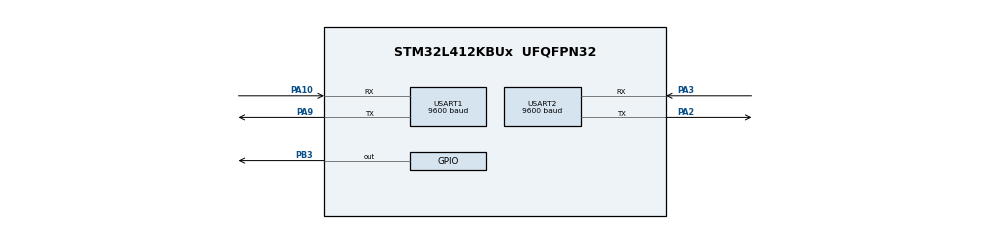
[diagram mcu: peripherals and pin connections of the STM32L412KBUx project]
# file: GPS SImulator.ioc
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Mcu.Family=STM32L4
Mcu.Name=STM32L412KBUx
Mcu.Package=UFQFPN32
NVIC.PriorityGroup=NVIC_PRIORITYGROUP_4
PA10.Mode=Asynchronous
PA10.Signal=USART1_RX
PA2.Mode=Asynchronous
PA2.Signal=USART2_TX
PA3.Mode=Asynchronous
PA3.Signal=USART2_RX
PA9.Mode=Asynchronous
PA9.Signal=USART1_TX
PB3\ (JTDO/TRACESWO).Signal=GPIO_Output
ProjectManager.HeapSize=0x200
ProjectManager.StackSize=0x400
ProjectManager.TargetToolchain=EWARM V8.32
RCC.ADCFreq_Value=4000000
RCC.HSE_VALUE=8000000
RCC.HSI48_VALUE=48000000
RCC.HSI_VALUE=16000000
RCC.LSE_VALUE=32768
RCC.MSI_VALUE=4000000
RCC.USBFreq_Value=4000000
RCC.VCOOutputFreq_Value=32000000
USART1.BaudRate=9600
USART1.VirtualMode-Asynchronous=VM_ASYNC
USART2.BaudRate=9600
USART2.VirtualMode-Asynchronous=VM_ASYNC
board=custom

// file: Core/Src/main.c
/* USER CODE BEGIN Header */
/**
  ******************************************************************************
  * @file           : main.c
  * @brief          : Main program body
  ******************************************************************************
  * @attention
  *
  * <h2><center>&copy; Copyright (c) 2022 STMicroelectronics.
  * All rights reserved.</center></h2>
  *
  * This software component is licensed by ST under BSD 3-Clause license,
  * the "License"; You may not use this file except in compliance with the
  * License. You may obtain a copy of the License at:
  *                        opensource.org/licenses/BSD-3-Clause
  *
  ******************************************************************************
  */
/* USER CODE END Header */
#include "main.h"

/* USER CODE BEGIN Includes */
#include <string.h>
/* USER CODE END Includes */

/* USER CODE BEGIN PD */
#define GPS_RECORD_INTERVAL 2
/* USER CODE END PD */

UART_HandleTypeDef huart1;
UART_HandleTypeDef huart2;

/* USER CODE BEGIN PV */
// scheduler stuff
extern uint8_t ten_mS_Flag;
extern uint8_t twentyfive_mS_Flag;
extern uint8_t hundred_mS_Flag;
extern uint8_t one_S_Flag;

// GPS Timing & Control
uint8_t gps_record_interval = GPS_RECORD_INTERVAL;
#define UART_2_USE &huart2
#define ROTATING_MESSAGES -1
int8_t gpsMsg2Send = ROTATING_MESSAGES;

// GPS Messages
// Test Cases:
#define NO_OF_GPS_MSGS 13
#define GPGGA_MSG_LENGTH 100
const char gpsMsg[NO_OF_GPS_MSGS][GPGGA_MSG_LENGTH] = {
  "$GPGGA,064951.000,2307.1256,N,12016.4438,E,1,8,0.95,39.9,M,17.8,M,,*65\r\n",
  "$GPGSV,3,1,09,29,36,029,42,21,46,314,43,26,44,020,43,15,21,321,39*7D\r\n",
  "$GPGSV,3,2,09,18,26,314,40,09,57,170,44,06,20,229,37,10,26,084,37*77\r\n",
  "$GPGSV,3,3,09,07,,,26*73\r\n",
  "$GPRMC,064951.000,A,2307.1256,N,12016.4438,E,0.03,165.48,260406,3.05,W,A*2C\r\n",
  "$GPVTG,165.48,T,,M,0.03,N,0.06,K,A*37\r\n",
  "$$PGTOP,11,3 *6F\r\n",
  "$GPGGA,,,,,,,,,,,,,,*7A\r\n",
  "$\r\n",
  "$GPGGA,092357.00,3731.07311,N,12155.24846,W,1,06,1.29,106.3,M,-29.6,M,,*60\r\n",
  "sd;f;k,tt432,Rfesy,3,\r\n",
  "GPG$,4,2,7,1\r\n",
  "26,314,40,09,57,170,44"
};

/* USER CODE END PV */

void SystemClock_Config(void);
static void MX_GPIO_Init(void);
static void MX_USART1_UART_Init(void);
static void MX_USART2_UART_Init(void);
/* USER CODE BEGIN PFP */
void SendOutGPS(int8_t recordNo);

/* USER CODE END PFP */

int main(void)
{

  /* MCU Configuration--------------------------------------------------------*/

  /* Reset of all peripherals, Initializes the Flash interface and the Systick. */
  HAL_Init();

  /* Configure the system clock */
  SystemClock_Config();

  /* Initialize all configured peripherals */
  MX_GPIO_Init();
  MX_USART1_UART_Init();
  MX_USART2_UART_Init();

  /* Infinite loop */
  /* USER CODE BEGIN WHILE */
  while (1)
  {
    //---------------------------------
    // 10mS Tasks
    if (ten_mS_Flag) {
      ten_mS_Flag = false;

    }  // end of 10mS Tasks
    //---------------------------------

    //---------------------------------
    // 25mS Tasks
    if (twentyfive_mS_Flag) {
      twentyfive_mS_Flag = false;

    }  // end of 25mS Tasks
    //---------------------------------

    //---------------------------------
    // 100mS Tasks
    if (hundred_mS_Flag) {
      hundred_mS_Flag = false;

    }  // end of 100mS Tasks
    //---------------------------------

    //---------------------------------
    // 1 Sec Tasks
    if (one_S_Flag) {
      one_S_Flag = false;

      if (--gps_record_interval == 0) {
        gps_record_interval = GPS_RECORD_INTERVAL;

        SendOutGPS(gpsMsg2Send);
      }
    } // end of 1Sec Tasks
    //---------------------------------

    //---------------------------------
    // Every time through the loop

    // end Every time through the loop
    //---------------------------------
    /* USER CODE END WHILE */

  }
}

void SystemClock_Config(void)
{
  RCC_OscInitTypeDef RCC_OscInitStruct = {0};
  RCC_ClkInitTypeDef RCC_ClkInitStruct = {0};

  /** Configure the main internal regulator output voltage
  */
  if (HAL_PWREx_ControlVoltageScaling(PWR_REGULATOR_VOLTAGE_SCALE1) != HAL_OK)
  {
    Error_Handler();
  }
  /** Initializes the RCC Oscillators according to the specified parameters
  * in the RCC_OscInitTypeDef structure.
  */
  RCC_OscInitStruct.OscillatorType = RCC_OSCILLATORTYPE_MSI;
  RCC_OscInitStruct.MSIState = RCC_MSI_ON;
  RCC_OscInitStruct.MSICalibrationValue = 0;
  RCC_OscInitStruct.MSIClockRange = RCC_MSIRANGE_6;
  RCC_OscInitStruct.PLL.PLLState = RCC_PLL_NONE;
  if (HAL_RCC_OscConfig(&RCC_OscInitStruct) != HAL_OK)
  {
    Error_Handler();
  }
  /** Initializes the CPU, AHB and APB buses clocks
  */
  RCC_ClkInitStruct.ClockType = RCC_CLOCKTYPE_HCLK|RCC_CLOCKTYPE_SYSCLK
                              |RCC_CLOCKTYPE_PCLK1|RCC_CLOCKTYPE_PCLK2;
  RCC_ClkInitStruct.SYSCLKSource = RCC_SYSCLKSOURCE_MSI;
  RCC_ClkInitStruct.AHBCLKDivider = RCC_SYSCLK_DIV1;
  RCC_ClkInitStruct.APB1CLKDivider = RCC_HCLK_DIV1;
  RCC_ClkInitStruct.APB2CLKDivider = RCC_HCLK_DIV1;

  if (HAL_RCC_ClockConfig(&RCC_ClkInitStruct, FLASH_LATENCY_0) != HAL_OK)
  {
    Error_Handler();
  }
}

static void MX_USART1_UART_Init(void)
{

  huart1.Instance = USART1;
  huart1.Init.BaudRate = 9600;
  huart1.Init.WordLength = UART_WORDLENGTH_8B;
  huart1.Init.StopBits = UART_STOPBITS_1;
  huart1.Init.Parity = UART_PARITY_NONE;
  huart1.Init.Mode = UART_MODE_TX_RX;
  huart1.Init.HwFlowCtl = UART_HWCONTROL_NONE;
  huart1.Init.OverSampling = UART_OVERSAMPLING_16;
  huart1.Init.OneBitSampling = UART_ONE_BIT_SAMPLE_DISABLE;
  huart1.AdvancedInit.AdvFeatureInit = UART_ADVFEATURE_NO_INIT;
  if (HAL_UART_Init(&huart1) != HAL_OK)
  {
    Error_Handler();
  }

}

static void MX_USART2_UART_Init(void)
{

  huart2.Instance = USART2;
  huart2.Init.BaudRate = 9600;
  huart2.Init.WordLength = UART_WORDLENGTH_8B;
  huart2.Init.StopBits = UART_STOPBITS_1;
  huart2.Init.Parity = UART_PARITY_NONE;
  huart2.Init.Mode = UART_MODE_TX_RX;
  huart2.Init.HwFlowCtl = UART_HWCONTROL_NONE;
  huart2.Init.OverSampling = UART_OVERSAMPLING_16;
  huart2.Init.OneBitSampling = UART_ONE_BIT_SAMPLE_DISABLE;
  huart2.AdvancedInit.AdvFeatureInit = UART_ADVFEATURE_NO_INIT;
  if (HAL_UART_Init(&huart2) != HAL_OK)
  {
    Error_Handler();
  }

}

static void MX_GPIO_Init(void)
{
  GPIO_InitTypeDef GPIO_InitStruct = {0};

  /* GPIO Ports Clock Enable */
  __HAL_RCC_GPIOA_CLK_ENABLE();
  __HAL_RCC_GPIOB_CLK_ENABLE();

  /*Configure GPIO pin Output Level */
  HAL_GPIO_WritePin(GPIOB, GPIO_PIN_3, GPIO_PIN_RESET);

  /*Configure GPIO pin : PB3 */
  GPIO_InitStruct.Pin = GPIO_PIN_3;
  GPIO_InitStruct.Mode = GPIO_MODE_OUTPUT_PP;
  GPIO_InitStruct.Pull = GPIO_NOPULL;
  GPIO_InitStruct.Speed = GPIO_SPEED_FREQ_LOW;
  HAL_GPIO_Init(GPIOB, &GPIO_InitStruct);

}

/* USER CODE BEGIN 4 */
void SendOutGPS(int8_t recordNo)
{
  static uint8_t gpsMsgIndex = 0;

//  HAL_UART_Transmit(&huart2, "hello", sizeof("hello"), 1000);
  if (recordNo == -1) {
    HAL_UART_Transmit(UART_2_USE, (uint8_t *)gpsMsg[gpsMsgIndex], strlen(gpsMsg[gpsMsgIndex]), 1000);

    if (++gpsMsgIndex >= NO_OF_GPS_MSGS)
      gpsMsgIndex = 0;
  }
  else {
    HAL_UART_Transmit(UART_2_USE, (uint8_t *)gpsMsg[recordNo], strlen(gpsMsg[recordNo]), 1000);
  }

}

/* USER CODE END 4 */

void Error_Handler(void)
{
  __disable_irq();
  while (1)
  {
  }
}

/************************ (C) COPYRIGHT STMicroelectronics *****END OF FILE****/
